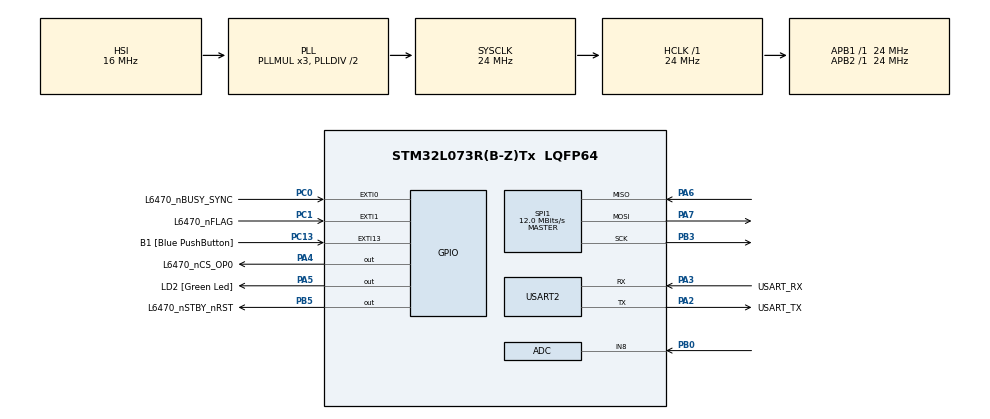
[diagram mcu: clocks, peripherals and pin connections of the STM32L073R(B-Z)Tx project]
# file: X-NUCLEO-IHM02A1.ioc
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ADC.ClockPrescaler=ADC_CLOCK_SYNC_PCLK_DIV4
ADC.ContinuousConvMode=DISABLE
ADC.DMAContinuousRequests=DISABLE
ADC.DataAlign=ADC_DATAALIGN_RIGHT
ADC.DiscontinuousConvMode=DISABLE
ADC.EOCSelection=ADC_EOC_SINGLE_CONV
ADC.EnableAnalogWatchDog=false
ADC.ExternalTrigConv=ADC_SOFTWARE_START
ADC.ExternalTrigConvEdge=ADC_EXTERNALTRIGCONVEDGE_NONE
ADC.LowPowerAutoPowerOff=DISABLE
ADC.LowPowerAutoWait=DISABLE
ADC.LowPowerFrequencyMode=DISABLE
ADC.Overrun=ADC_OVR_DATA_PRESERVED
ADC.OversamplingMode=DISABLE
ADC.Resolution=ADC_RESOLUTION_12B
ADC.SamplingTime=ADC_SAMPLETIME_39CYCLES_5
ADC.ScanConvMode=ADC_SCAN_DIRECTION_FORWARD
Mcu.Family=STM32L0
Mcu.Name=STM32L073R(B-Z)Tx
Mcu.Package=LQFP64
NVIC.EXTI0_1_IRQn=true\:0\:0\:false\:false\:true\:true
NVIC.EXTI4_15_IRQn=true\:0\:0\:false\:false\:true\:true
NVIC.USART2_IRQn=true\:0\:0\:false\:false\:true\:true
PA13.GPIO_Label=TMS
PA13.Mode=Serial_Wire
PA13.Signal=SYS_SWDIO
PA14.GPIO_Label=TCK
PA14.Mode=Serial_Wire
PA14.Signal=SYS_SWCLK
PA2.GPIO_Label=USART_TX
PA2.Mode=Asynchronous
PA2.Signal=USART2_TX
PA3.GPIO_Label=USART_RX
PA3.Mode=Asynchronous
PA3.Signal=USART2_RX
PA4.GPIO_Label=L6470_nCS_OP0
PA4.Signal=GPIO_Output
PA5.GPIO_Label=LD2 [Green Led]
PA5.Signal=GPIO_Output
PA6.Mode=Full_Duplex_Master
PA6.Signal=SPI1_MISO
PA7.Mode=Full_Duplex_Master
PA7.Signal=SPI1_MOSI
PB0.Mode=IN8
PB0.Signal=ADC_IN8
PB3.Mode=Full_Duplex_Master
PB3.Signal=SPI1_SCK
PB5.GPIO_Label=L6470_nSTBY_nRST
PB5.Signal=GPIO_Output
PC0.GPIO_Label=L6470_nBUSY_SYNC
PC0.Signal=GPXTI0
PC1.GPIO_Label=L6470_nFLAG
PC1.Signal=GPXTI1
PC13.GPIO_Label=B1 [Blue PushButton]
PC13.GPIO_ModeDefaultEXTI=GPIO_MODE_IT_FALLING
PC13.Signal=GPXTI13
PC14-OSC32_IN.Mode=LSE-External-Oscillator
PC14-OSC32_IN.Signal=RCC_OSC32_IN
PC15-OSC32_OUT.Mode=LSE-External-Oscillator
PC15-OSC32_OUT.Signal=RCC_OSC32_OUT
PH0-OSC_IN.GPIO_Label=MCO
PH0-OSC_IN.Mode=HSE-External-Clock-Source
PH0-OSC_IN.Signal=RCC_OSC_IN
ProjectManager.HeapSize=0x200
ProjectManager.StackSize=0x400
ProjectManager.TargetToolchain=TrueSTUDIO
RCC.AHBFreq_Value=24000000
RCC.APB1Freq_Value=24000000
RCC.APB1TimFreq_Value=24000000
RCC.APB2Freq_Value=24000000
RCC.APB2TimFreq_Value=24000000
RCC.HCLKFreq_Value=24000000
RCC.HSE_VALUE=8000000
RCC.HSI16_VALUE=16000000
RCC.HSI48_VALUE=48000000
RCC.HSI_VALUE=16000000
RCC.MSI_VALUE=2097000
RCC.SYSCLKFreq_VALUE=24000000
RCC.SYSCLKSource=RCC_SYSCLKSOURCE_PLLCLK
RCC.VCOOutputFreq_Value=48000000
SPI1.CLKPhase=SPI_PHASE_2EDGE
SPI1.CLKPolarity=SPI_POLARITY_HIGH
SPI1.CalculateBaudRate=12.0 MBits/s
SPI1.Direction=SPI_DIRECTION_2LINES
SPI1.Mode=SPI_MODE_MASTER
SPI1.VirtualType=VM_MASTER
USART2.VirtualMode-Asynchronous=VM_ASYNC
USART2.WordLength=WORDLENGTH_8B
VP_ADC_TempSens_Input.Mode=IN-TempSens
VP_ADC_Vref_Input.Mode=IN-Vrefint
board=NUCLEO-L073RZ

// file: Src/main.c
/**
  ******************************************************************************
  * @file           : main.c
  * @brief          : Main program body
  ******************************************************************************
  ** This notice applies to any and all portions of this file
  * that are not between comment pairs USER CODE BEGIN and
  * USER CODE END. Other portions of this file, whether
  * inserted by the user or by software development tools
  * are owned by their respective copyright owners.
  *
  * COPYRIGHT(c) 2018 STMicroelectronics
  *
  * Redistribution and use in source and binary forms, with or without modification,
  * are permitted provided that the following conditions are met:
  *   1. Redistributions of source code must retain the above copyright notice,
  *      this list of conditions and the following disclaimer.
  *   2. Redistributions in binary form must reproduce the above copyright notice,
  *      this list of conditions and the following disclaimer in the documentation
  *      and/or other materials provided with the distribution.
  *   3. Neither the name of STMicroelectronics nor the names of its contributors
  *      may be used to endorse or promote products derived from this software
  *      without specific prior written permission.
  *
  * THIS SOFTWARE IS PROVIDED BY THE COPYRIGHT HOLDERS AND CONTRIBUTORS "AS IS"
  * AND ANY EXPRESS OR IMPLIED WARRANTIES, INCLUDING, BUT NOT LIMITED TO, THE
  * IMPLIED WARRANTIES OF MERCHANTABILITY AND FITNESS FOR A PARTICULAR PURPOSE ARE
  * DISCLAIMED. IN NO EVENT SHALL THE COPYRIGHT HOLDER OR CONTRIBUTORS BE LIABLE
  * FOR ANY DIRECT, INDIRECT, INCIDENTAL, SPECIAL, EXEMPLARY, OR CONSEQUENTIAL
  * DAMAGES (INCLUDING, BUT NOT LIMITED TO, PROCUREMENT OF SUBSTITUTE GOODS OR
  * SERVICES; LOSS OF USE, DATA, OR PROFITS; OR BUSINESS INTERRUPTION) HOWEVER
  * CAUSED AND ON ANY THEORY OF LIABILITY, WHETHER IN CONTRACT, STRICT LIABILITY,
  * OR TORT (INCLUDING NEGLIGENCE OR OTHERWISE) ARISING IN ANY WAY OUT OF THE USE
  * OF THIS SOFTWARE, EVEN IF ADVISED OF THE POSSIBILITY OF SUCH DAMAGE.
  *
  ******************************************************************************
  */
#include "main.h"
#include "stm32l0xx_hal.h"

/* USER CODE BEGIN Includes */
#include "xnucleoihm02a1.h"
#include "example.h"
#include "example_usart.h"
/* USER CODE END Includes */

ADC_HandleTypeDef hadc;

SPI_HandleTypeDef hspi1;

UART_HandleTypeDef huart2;

/* USER CODE BEGIN PV */
/* Private variables ---------------------------------------------------------*/
//#define MICROSTEPPING_MOTOR_EXAMPLE        //!< Uncomment to performe the standalone example
#define MICROSTEPPING_MOTOR_USART_EXAMPLE  //!< Uncomment to performe the USART example
#if ((defined (MICROSTEPPING_MOTOR_EXAMPLE)) && (defined (MICROSTEPPING_MOTOR_USART_EXAMPLE)))
  #error "Please select an option only!"
#elif ((!defined (MICROSTEPPING_MOTOR_EXAMPLE)) && (!defined (MICROSTEPPING_MOTOR_USART_EXAMPLE)))
  #error "Please select an option!"
#endif
#if (defined (MICROSTEPPING_MOTOR_USART_EXAMPLE) && (!defined (NUCLEO_USE_USART)))
  #error "Please define "NUCLEO_USE_USART" in "stm32fxxx_x-nucleo-ihm02a1.h"!"
#endif
/* USER CODE END PV */

void SystemClock_Config(void);
static void MX_GPIO_Init(void);
static void MX_USART2_UART_Init(void);
static void MX_SPI1_Init(void);
static void MX_ADC_Init(void);

/* USER CODE BEGIN PFP */
/* Private function prototypes -----------------------------------------------*/

/* USER CODE END PFP */

int main(void)
{

  /* MCU Configuration----------------------------------------------------------*/

  /* Reset of all peripherals, Initializes the Flash interface and the Systick. */
  HAL_Init();

  /* Configure the system clock */
  SystemClock_Config();

  /* Initialize all configured peripherals */
  MX_GPIO_Init();
  MX_USART2_UART_Init();
  MX_SPI1_Init();
  MX_ADC_Init();
  /* USER CODE BEGIN 2 */

  /* X-NUCLEO-IHM02A1 initialization */
  BSP_Init();

#ifdef NUCLEO_USE_USART
  /* Transmit the initial message to the PC via UART */
  USART_TxWelcomeMessage();
#endif
  /* USER CODE END 2 */

  /* Infinite loop */
  /* USER CODE BEGIN WHILE */
#if defined (MICROSTEPPING_MOTOR_EXAMPLE)
  /* Perform a batch commands for X-NUCLEO-IHM02A1 */
  MicrosteppingMotor_Example_01();
  /* Infinite loop */
   while (1);
 #elif defined (MICROSTEPPING_MOTOR_USART_EXAMPLE)
   /* Fill the L6470_DaisyChainMnemonic structure */
   Fill_L6470_DaisyChainMnemonic();
  while (1)
  {

  /* USER CODE END WHILE */

  /* USER CODE BEGIN 3 */
	    /* Check if any Application Command for L6470 has been entered by USART */
	    USART_CheckAppCmd();
  }
#endif
  /* USER CODE END 3 */

}

void SystemClock_Config(void)
{

  RCC_OscInitTypeDef RCC_OscInitStruct;
  RCC_ClkInitTypeDef RCC_ClkInitStruct;
  RCC_PeriphCLKInitTypeDef PeriphClkInit;

    /**Configure the main internal regulator output voltage
    */
  __HAL_PWR_VOLTAGESCALING_CONFIG(PWR_REGULATOR_VOLTAGE_SCALE1);

    /**Initializes the CPU, AHB and APB busses clocks
    */
  RCC_OscInitStruct.OscillatorType = RCC_OSCILLATORTYPE_HSI;
  RCC_OscInitStruct.HSIState = RCC_HSI_ON;
  RCC_OscInitStruct.HSICalibrationValue = 16;
  RCC_OscInitStruct.PLL.PLLState = RCC_PLL_ON;
  RCC_OscInitStruct.PLL.PLLSource = RCC_PLLSOURCE_HSI;
  RCC_OscInitStruct.PLL.PLLMUL = RCC_PLLMUL_3;
  RCC_OscInitStruct.PLL.PLLDIV = RCC_PLLDIV_2;
  if (HAL_RCC_OscConfig(&RCC_OscInitStruct) != HAL_OK)
  {
    _Error_Handler(__FILE__, __LINE__);
  }

    /**Initializes the CPU, AHB and APB busses clocks
    */
  RCC_ClkInitStruct.ClockType = RCC_CLOCKTYPE_HCLK|RCC_CLOCKTYPE_SYSCLK
                              |RCC_CLOCKTYPE_PCLK1|RCC_CLOCKTYPE_PCLK2;
  RCC_ClkInitStruct.SYSCLKSource = RCC_SYSCLKSOURCE_PLLCLK;
  RCC_ClkInitStruct.AHBCLKDivider = RCC_SYSCLK_DIV1;
  RCC_ClkInitStruct.APB1CLKDivider = RCC_HCLK_DIV1;
  RCC_ClkInitStruct.APB2CLKDivider = RCC_HCLK_DIV1;

  if (HAL_RCC_ClockConfig(&RCC_ClkInitStruct, FLASH_LATENCY_1) != HAL_OK)
  {
    _Error_Handler(__FILE__, __LINE__);
  }

  PeriphClkInit.PeriphClockSelection = RCC_PERIPHCLK_USART2;
  PeriphClkInit.Usart2ClockSelection = RCC_USART2CLKSOURCE_PCLK1;
  if (HAL_RCCEx_PeriphCLKConfig(&PeriphClkInit) != HAL_OK)
  {
    _Error_Handler(__FILE__, __LINE__);
  }

    /**Configure the Systick interrupt time
    */
  HAL_SYSTICK_Config(HAL_RCC_GetHCLKFreq()/1000);

    /**Configure the Systick
    */
  HAL_SYSTICK_CLKSourceConfig(SYSTICK_CLKSOURCE_HCLK);

  /* SysTick_IRQn interrupt configuration */
  HAL_NVIC_SetPriority(SysTick_IRQn, 0, 0);
}

/* ADC init function */
static void MX_ADC_Init(void)
{

  ADC_ChannelConfTypeDef sConfig;

    /**Configure the global features of the ADC (Clock, Resolution, Data Alignment and number of conversion)
    */
  hadc.Instance = ADC1;
  hadc.Init.OversamplingMode = DISABLE;
  hadc.Init.ClockPrescaler = ADC_CLOCK_SYNC_PCLK_DIV4;
  hadc.Init.Resolution = ADC_RESOLUTION_12B;
  hadc.Init.SamplingTime = ADC_SAMPLETIME_39CYCLES_5;
  hadc.Init.ScanConvMode = ADC_SCAN_DIRECTION_FORWARD;
  hadc.Init.DataAlign = ADC_DATAALIGN_RIGHT;
  hadc.Init.ContinuousConvMode = DISABLE;
  hadc.Init.DiscontinuousConvMode = DISABLE;
  hadc.Init.ExternalTrigConvEdge = ADC_EXTERNALTRIGCONVEDGE_NONE;
  hadc.Init.ExternalTrigConv = ADC_SOFTWARE_START;
  hadc.Init.DMAContinuousRequests = DISABLE;
  hadc.Init.EOCSelection = ADC_EOC_SINGLE_CONV;
  hadc.Init.Overrun = ADC_OVR_DATA_PRESERVED;
  hadc.Init.LowPowerAutoWait = DISABLE;
  hadc.Init.LowPowerFrequencyMode = DISABLE;
  hadc.Init.LowPowerAutoPowerOff = DISABLE;
  if (HAL_ADC_Init(&hadc) != HAL_OK)
  {
    _Error_Handler(__FILE__, __LINE__);
  }

    /**Configure for the selected ADC regular channel to be converted.
    */
  sConfig.Channel = ADC_CHANNEL_8;
  sConfig.Rank = ADC_RANK_CHANNEL_NUMBER;
  if (HAL_ADC_ConfigChannel(&hadc, &sConfig) != HAL_OK)
  {
    _Error_Handler(__FILE__, __LINE__);
  }

    /**Configure for the selected ADC regular channel to be converted.
    */
  sConfig.Channel = ADC_CHANNEL_TEMPSENSOR;
  if (HAL_ADC_ConfigChannel(&hadc, &sConfig) != HAL_OK)
  {
    _Error_Handler(__FILE__, __LINE__);
  }

    /**Configure for the selected ADC regular channel to be converted.
    */
  sConfig.Channel = ADC_CHANNEL_VREFINT;
  if (HAL_ADC_ConfigChannel(&hadc, &sConfig) != HAL_OK)
  {
    _Error_Handler(__FILE__, __LINE__);
  }

}

/* SPI1 init function */
static void MX_SPI1_Init(void)
{

  /* SPI1 parameter configuration*/
  hspi1.Instance = SPI1;
  hspi1.Init.Mode = SPI_MODE_MASTER;
  hspi1.Init.Direction = SPI_DIRECTION_2LINES;
  hspi1.Init.DataSize = SPI_DATASIZE_8BIT;
  hspi1.Init.CLKPolarity = SPI_POLARITY_HIGH;
  hspi1.Init.CLKPhase = SPI_PHASE_2EDGE;
  hspi1.Init.NSS = SPI_NSS_SOFT;
  hspi1.Init.BaudRatePrescaler = SPI_BAUDRATEPRESCALER_2;
  hspi1.Init.FirstBit = SPI_FIRSTBIT_MSB;
  hspi1.Init.TIMode = SPI_TIMODE_DISABLE;
  hspi1.Init.CRCCalculation = SPI_CRCCALCULATION_DISABLE;
  hspi1.Init.CRCPolynomial = 7;
  if (HAL_SPI_Init(&hspi1) != HAL_OK)
  {
    _Error_Handler(__FILE__, __LINE__);
  }

}

/* USART2 init function */
static void MX_USART2_UART_Init(void)
{

  huart2.Instance = USART2;
  huart2.Init.BaudRate = 115200;
  huart2.Init.WordLength = UART_WORDLENGTH_8B;
  huart2.Init.StopBits = UART_STOPBITS_1;
  huart2.Init.Parity = UART_PARITY_NONE;
  huart2.Init.Mode = UART_MODE_TX_RX;
  huart2.Init.HwFlowCtl = UART_HWCONTROL_NONE;
  huart2.Init.OverSampling = UART_OVERSAMPLING_16;
  huart2.Init.OneBitSampling = UART_ONE_BIT_SAMPLE_DISABLE;
  huart2.AdvancedInit.AdvFeatureInit = UART_ADVFEATURE_NO_INIT;
  if (HAL_UART_Init(&huart2) != HAL_OK)
  {
    _Error_Handler(__FILE__, __LINE__);
  }

}

/** Configure pins as
        * Analog
        * Input
        * Output
        * EVENT_OUT
        * EXTI
*/
static void MX_GPIO_Init(void)
{

  GPIO_InitTypeDef GPIO_InitStruct;

  /* GPIO Ports Clock Enable */
  __HAL_RCC_GPIOC_CLK_ENABLE();
  __HAL_RCC_GPIOH_CLK_ENABLE();
  __HAL_RCC_GPIOA_CLK_ENABLE();
  __HAL_RCC_GPIOB_CLK_ENABLE();

  /*Configure GPIO pin Output Level */
  HAL_GPIO_WritePin(GPIOA, L6470_nCS_OP0_Pin|LD2_Pin, GPIO_PIN_RESET);

  /*Configure GPIO pin Output Level */
  HAL_GPIO_WritePin(L6470_nSTBY_nRST_GPIO_Port, L6470_nSTBY_nRST_Pin, GPIO_PIN_RESET);

  /*Configure GPIO pin : B1_Pin */
  GPIO_InitStruct.Pin = B1_Pin;
  GPIO_InitStruct.Mode = GPIO_MODE_IT_FALLING;
  GPIO_InitStruct.Pull = GPIO_NOPULL;
  HAL_GPIO_Init(B1_GPIO_Port, &GPIO_InitStruct);

  /*Configure GPIO pins : L6470_nBUSY_SYNC_Pin L6470_nFLAG_Pin */
  GPIO_InitStruct.Pin = L6470_nBUSY_SYNC_Pin|L6470_nFLAG_Pin;
  GPIO_InitStruct.Mode = GPIO_MODE_IT_RISING;
  GPIO_InitStruct.Pull = GPIO_NOPULL;
  HAL_GPIO_Init(GPIOC, &GPIO_InitStruct);

  /*Configure GPIO pins : L6470_nCS_OP0_Pin LD2_Pin */
  GPIO_InitStruct.Pin = L6470_nCS_OP0_Pin|LD2_Pin;
  GPIO_InitStruct.Mode = GPIO_MODE_OUTPUT_PP;
  GPIO_InitStruct.Pull = GPIO_NOPULL;
  GPIO_InitStruct.Speed = GPIO_SPEED_FREQ_LOW;
  HAL_GPIO_Init(GPIOA, &GPIO_InitStruct);

  /*Configure GPIO pin : L6470_nSTBY_nRST_Pin */
  GPIO_InitStruct.Pin = L6470_nSTBY_nRST_Pin;
  GPIO_InitStruct.Mode = GPIO_MODE_OUTPUT_PP;
  GPIO_InitStruct.Pull = GPIO_NOPULL;
  GPIO_InitStruct.Speed = GPIO_SPEED_FREQ_LOW;
  HAL_GPIO_Init(L6470_nSTBY_nRST_GPIO_Port, &GPIO_InitStruct);

  /* EXTI interrupt init*/
  HAL_NVIC_SetPriority(EXTI0_1_IRQn, 0, 0);
  HAL_NVIC_EnableIRQ(EXTI0_1_IRQn);

  HAL_NVIC_SetPriority(EXTI4_15_IRQn, 0, 0);
  HAL_NVIC_EnableIRQ(EXTI4_15_IRQn);

}

/* USER CODE BEGIN 4 */
void _Error_Handler(char *file, int line);
/* USER CODE END 4 */

void _Error_Handler(char *file, int line)
{
  while(1)
  {
  }
}

/************************ (C) COPYRIGHT STMicroelectronics *****END OF FILE****/
